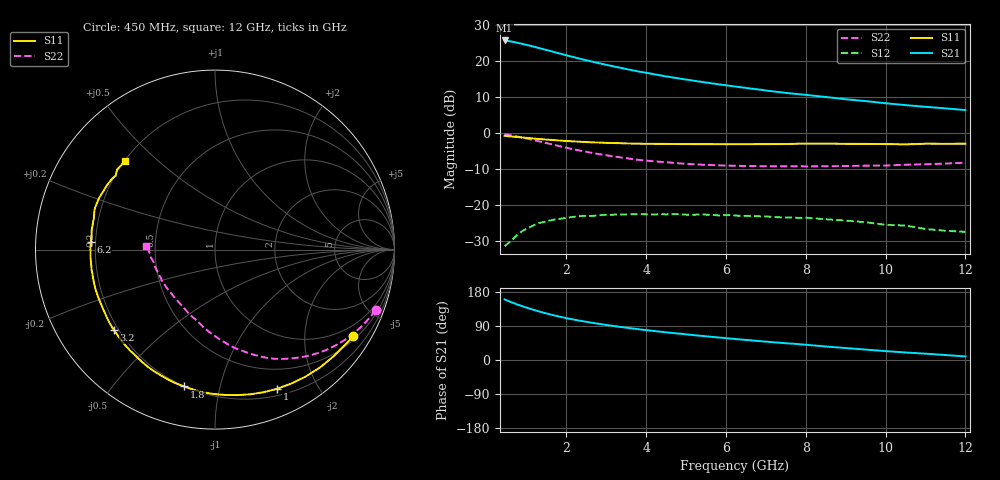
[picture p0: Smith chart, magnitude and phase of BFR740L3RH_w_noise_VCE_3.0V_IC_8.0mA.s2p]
! (c) 2012  Infineon Technologies AG, Munich
! Infineon Technologies  Discrete & RF Semiconductors
! BFR740L3RH
! VCE =  3.0 V,  IC =  8.0 mA
! Common Emitter S-Parameters:  May 2012
# GHz  S  MA  R  50
!  f  S11  S21  S12  S22
! GHz  MAG  ANG  MAG  ANG  MAG  ANG  MAG  ANG
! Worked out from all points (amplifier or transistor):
!   85 points, 450 MHz to 12 GHz, reference 50 ohm
!   highest |S21| = 25.7 dB at 450 MHz (marker M1)
!   |S21| within 3 dB of that: start of sweep to 1.62 GHz
!   unconditionally stable (mu >= 1): 8.501 GHz to end of sweep
!   at 1.8 GHz: K = 0.16, MSG = 23.0 dB, |S12| = -24.0 dB
!   at 4.6 GHz: K = 0.45, MSG = 19.1 dB, |S12| = -22.7 dB
!   at 12 GHz: K = 2.36, MAG = 10.4 dB, |S12| = -27.6 dB
!   lowest NFmin = 0.51 dB at 450 MHz
!   S11 on the Smith chart (normalised r, x): 450 MHz: 0.61, -3.39; 1 GHz: 0.27, -1.51; 1.8 GHz: 0.20, -0.78; 3.2 GHz: 0.18, -0.34; 6.2 GHz: 0.18, +0.03; 12 GHz: 0.20, +0.39
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0.45  0.9095 -32.0  19.23 160.0  0.0265 67.5  0.9571 -20.7
0.6  0.889 -41.9  18.64 153.3  0.031 65.4  0.9252 -27.1
0.7  0.8796 -48.3  18.19 149.2  0.0353 61.5  0.9031 -31.2
0.8  0.8692 -54.4  17.69 145.3  0.0397 58.1  0.8801 -35.0
1  0.8492 -65.9  16.68 138.1  0.0462 53.0  0.8333 -42.3
1.2  0.8299 -76.3  15.66 131.6  0.0524 47.3  0.7865 -48.9
1.4  0.812 -85.9  14.65 125.5  0.057 42.5  0.7399 -55.0
1.6  0.7981 -94.5  13.71 120.2  0.0605 37.7  0.6982 -60.7
1.8  0.7817 -102.7  12.79 115.0  0.0634 34.0  0.657 -65.8
2.1  0.7632 -113.3  11.57 108.3  0.067 29.3  0.6024 -72.5
2.4  0.7477 -122.3  10.5 102.5  0.0698 25.3  0.5579 -78.8
2.8  0.7316 -132.6  9.323 95.7  0.0711 20.8  0.5073 -86.0
3.2  0.7199 -141.6  8.338 89.5  0.0727 16.4  0.4676 -92.6
3.7  0.7067 -151.1  7.313 82.6  0.0738 11.8  0.4271 -100.2
4.3  0.7019 -160.3  6.36 75.3  0.0736 8.7  0.3971 -108.0
5.2  0.6951 -172.6  5.286 65.5  0.0724 2.8  0.3643 -119.5
6.2  0.6931 176.6  4.42 55.7  0.0708 -1.0  0.3483 -131.4
6.3  0.6935 175.7  4.345 54.8  0.0703 -1.4  0.3471 -132.5
7.2  0.6965 167.4  3.75 46.7  0.0674 -4.9  0.3432 -142.7
8.5  0.7072 156.1  3.145 35.6  0.0627 -10.0  0.3422 -156.3
10.5  0.6897 143.3  2.423 19.8  0.0513 -12.3  0.3599 -172.9
12  0.7049 135.5  2.069 9.4  0.0419 -3.6  0.384 177.0
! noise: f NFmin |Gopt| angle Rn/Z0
0.45  0.51  0.33  3  0.13
0.9  0.52  0.33  15  0.12
1.5  0.54  0.32  31  0.11
1.9  0.56  0.33  40  0.11
2.4  0.59  0.35  51  0.11
3.5  0.66  0.35  69  0.09
5.5  0.83  0.37  100  0.09
8  1.06  0.35  140  0.08
10  1.24  0.37  165  0.06
12  1.43  0.41  -161  0.06
